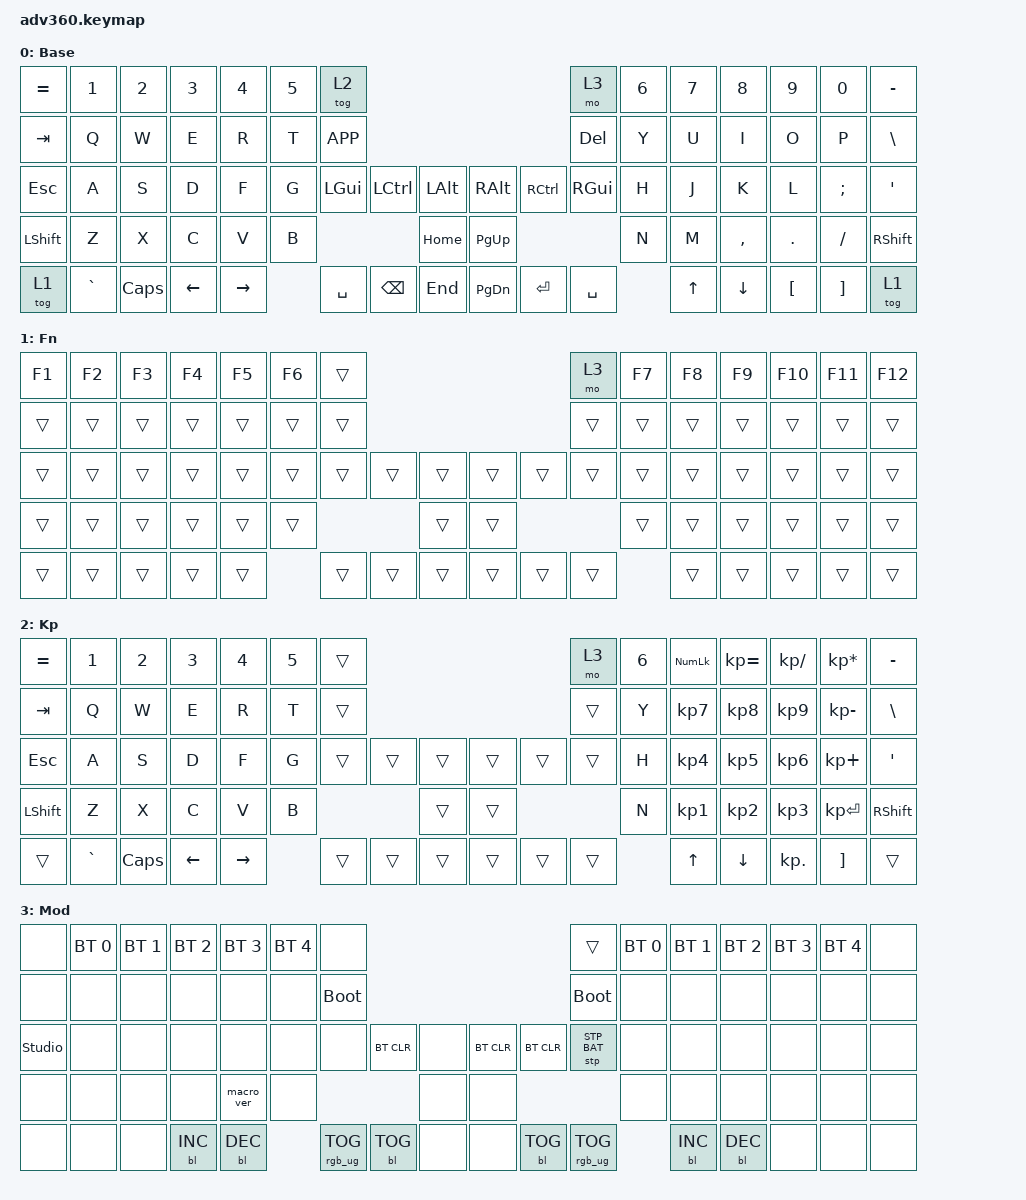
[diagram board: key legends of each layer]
#include <dt-bindings/zmk/stp.h>
#include <behaviors.dtsi>
#include <dt-bindings/zmk/backlight.h>
#include <dt-bindings/zmk/bt.h>
#include <dt-bindings/zmk/keys.h>
#include <dt-bindings/zmk/rgb.h>

/ {
    behaviors {
        #include "macros.dtsi"
      #include "version.dtsi"

        hm: homerow_mods {
            compatible = "zmk,behavior-hold-tap";
            label = "HOMEROW_MODS";
            #binding-cells = <2>;
            tapping-term-ms = <200>;
            quick_tap_ms = <175>;
            flavor = "tap-preferred";
            bindings = <&kp>, <&kp>;
        };
    };

    keymap {
        compatible = "zmk,keymap";

        default_layer {
            display-name = "Base";
            bindings = <
&kp EQUAL  &kp N1     &kp N2    &kp N3    &kp N4     &kp N5  &tog 2                                                    &mo 3      &kp N6  &kp N7  &kp N8     &kp N9    &kp N0    &kp MINUS
&kp TAB    &kp Q      &kp W     &kp E     &kp R      &kp T   &kp K_APP                                                 &kp DEL    &kp Y   &kp U   &kp I      &kp O     &kp P     &kp BSLH
&kp ESC    &kp A      &kp S     &kp D     &kp F      &kp G   &kp LGUI   &kp LCTRL  &kp LALT      &kp RALT   &kp RCTRL  &kp RGUI   &kp H   &kp J   &kp K      &kp L     &kp SEMI  &kp SQT
&kp LSHFT  &kp Z      &kp X     &kp C     &kp V      &kp B                         &kp HOME      &kp PG_UP                        &kp N   &kp M   &kp COMMA  &kp DOT   &kp FSLH  &kp RSHFT
&tog 1     &kp GRAVE  &kp CAPS  &kp LEFT  &kp RIGHT          &kp SPACE  &kp BSPC   &kp END       &kp PG_DN  &kp ENTER  &kp SPACE          &kp UP  &kp DOWN   &kp LBKT  &kp RBKT  &tog 1
            >;
        };

        fn {
            display-name = "Fn";
            bindings = <
&kp F1  &kp F2  &kp F3  &kp F4  &kp F5  &kp F6  &trans                                      &mo 3   &kp F7  &kp F8  &kp F9  &kp F10  &kp F11  &kp F12
&trans  &trans  &trans  &trans  &trans  &trans  &trans                                      &trans  &trans  &trans  &trans  &trans   &trans   &trans
&trans  &trans  &trans  &trans  &trans  &trans  &trans  &trans  &trans      &trans  &trans  &trans  &trans  &trans  &trans  &trans   &trans   &trans
&trans  &trans  &trans  &trans  &trans  &trans                  &trans      &trans                  &trans  &trans  &trans  &trans   &trans   &trans
&trans  &trans  &trans  &trans  &trans          &trans  &trans  &trans      &trans  &trans  &trans          &trans  &trans  &trans   &trans   &trans
            >;
        };

        keypad {
            display-name = "Kp";
            bindings = <
&kp EQUAL  &kp N1     &kp N2    &kp N3    &kp N4     &kp N5  &trans                                      &mo 3   &kp N6  &kp KP_NUM  &kp KP_EQUAL  &kp KP_DIVIDE  &kp KP_MULTIPLY  &kp MINUS
&kp TAB    &kp Q      &kp W     &kp E     &kp R      &kp T   &trans                                      &trans  &kp Y   &kp KP_N7   &kp KP_N8     &kp KP_N9      &kp KP_MINUS     &kp BSLH
&kp ESC    &kp A      &kp S     &kp D     &kp F      &kp G   &trans  &trans  &trans      &trans  &trans  &trans  &kp H   &kp KP_N4   &kp KP_N5     &kp KP_N6      &kp KP_PLUS      &kp SQT
&kp LSHFT  &kp Z      &kp X     &kp C     &kp V      &kp B                   &trans      &trans                  &kp N   &kp KP_N1   &kp KP_N2     &kp KP_N3      &kp KP_ENTER     &kp RSHFT
&trans     &kp GRAVE  &kp CAPS  &kp LEFT  &kp RIGHT          &trans  &trans  &trans      &trans  &trans  &trans          &kp UP      &kp DOWN      &kp KP_DOT     &kp RBKT         &trans
            >;
        };

        mod {
            display-name = "Mod";
            bindings = <
&none           &bt BT_SEL 0  &bt BT_SEL 1  &bt BT_SEL 2  &bt BT_SEL 3  &bt BT_SEL 4  &none                                                           &trans           &bt BT_SEL 0  &bt BT_SEL 1  &bt BT_SEL 2  &bt BT_SEL 3  &bt BT_SEL 4  &none
&none           &none         &none         &none         &none         &none         &bootloader                                                     &bootloader      &none         &none         &none         &none         &none         &none
&studio_unlock  &none         &none         &none         &none         &none         &none            &bt BT_CLR  &none      &bt BT_CLR  &bt BT_CLR  &stp STP_BAT     &none         &none         &none         &none         &none         &none
&none           &none         &none         &none         &macro_ver    &none                                      &none      &none                                    &none         &none         &none         &none         &none         &none
&none           &none         &none         &bl BL_INC    &bl BL_DEC                  &rgb_ug RGB_TOG  &bl BL_TOG  &none      &none       &bl BL_TOG  &rgb_ug RGB_TOG                &bl BL_INC    &bl BL_DEC    &none         &none         &none
            >;
        };
    };
};
